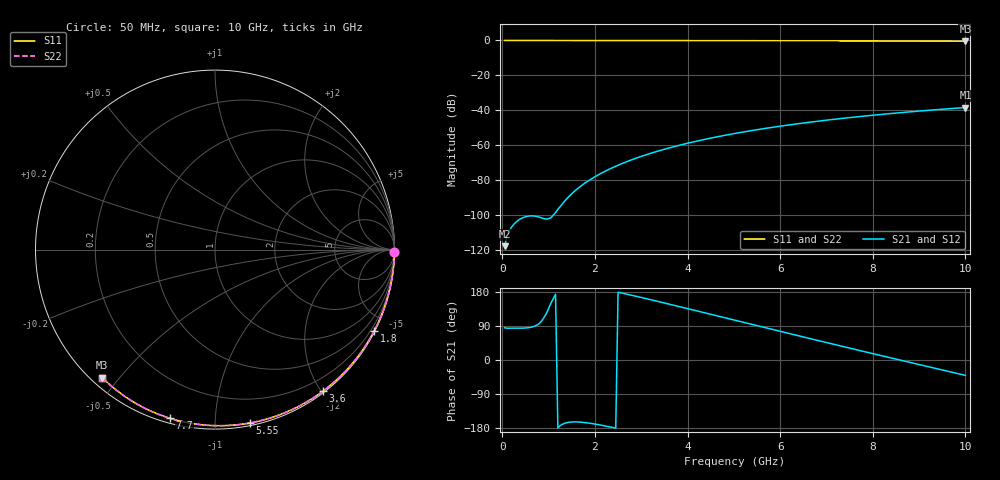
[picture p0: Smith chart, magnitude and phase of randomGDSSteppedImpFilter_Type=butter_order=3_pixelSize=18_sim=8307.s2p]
! freq	dB(S11)	phase(S11)	dB(S12)	phase(S12)
!  dB(S21)	phase(S21)	dB(S22)	phase(S22)
!S-par simulation data
#  GHz  S  DB  R 50
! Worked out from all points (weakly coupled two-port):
!   200 points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, 50 MHz to 10 GHz, reference 50 ohm
!   highest |S21| = -38.40 dB at 10 GHz (marker M1); lowest = -117.8 dB at 50 MHz (marker M2)
!   lowest |S11| = -0.4 dB at 10 GHz (marker M3), VSWR 39.13, Z = 1.54 - j22.6 ohm
!   |S11| at or under -10 dB: nowhere
!   |S22| runs from -0.4 to 0.0 dB; largest |S21 - S12| = 0
!   S11 on the Smith chart (normalised r, x): 50 MHz: open; 1.8 GHz: 0.04, -4.18; 3.6 GHz: 0.02, -2.02; 5.55 GHz: 0.02, -1.22; 7.7 GHz: 0.02, -0.77; 10 GHz: 0.03, -0.45
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0.05  -0.00 -0.8  -117.77 85.0  -117.77 85.0  -0.00 -0.8
0.9  -0.02 -13.6  -102.02 112.0  -102.02 112.0  -0.02 -13.6
1.75  -0.03 -26.2  -82.31 -164.6  -82.31 -164.6  -0.03 -26.2
1.8  -0.03 -26.9  -81.38 -165.3  -81.38 -165.3  -0.03 -26.9
1.85  -0.04 -27.7  -80.49 -166.1  -80.49 -166.1  -0.04 -27.7
1.9  -0.04 -28.4  -79.64 -167.0  -79.64 -167.0  -0.04 -28.4
2.05  -0.04 -30.6  -77.26 -170.0  -77.26 -170.0  -0.04 -30.6
2.25  -0.04 -33.5  -74.47 -174.6  -74.47 -174.6  -0.04 -33.5
2.45  -0.05 -36.4  -71.99 -179.7  -71.99 -179.7  -0.05 -36.4
2.65  -0.05 -39.3  -69.77 174.9  -69.77 174.9  -0.05 -39.3
3  -0.06 -44.2  -66.37 165.1  -66.37 165.1  -0.06 -44.2
3.4  -0.07 -49.9  -63.03 153.4  -63.03 153.4  -0.07 -49.9
3.6  -0.07 -52.7  -61.54 147.5  -61.54 147.5  -0.07 -52.7
4.3  -0.09 -62.2  -57.04 126.6  -57.04 126.6  -0.09 -62.2
5.05  -0.11 -72.2  -53.11 104.1  -53.11 104.1  -0.11 -72.2
5.55  -0.13 -78.6  -50.88 89.1  -50.88 89.1  -0.13 -78.6
6.1  -0.15 -85.6  -48.70 72.7  -48.70 72.7  -0.15 -85.6
6.7  -0.18 -93.0  -46.60 54.9  -46.60 54.9  -0.18 -93.0
7.7  -0.24 -105.0  -43.60 25.5  -43.60 25.5  -0.24 -105.0
8.35  -0.29 -112.6  -41.92 6.7  -41.92 6.7  -0.29 -112.6
9.15  -0.36 -121.8  -40.10 -16.3  -40.10 -16.3  -0.36 -121.8
10  -0.44 -131.3  -38.40 -40.5  -38.40 -40.5  -0.44 -131.3
